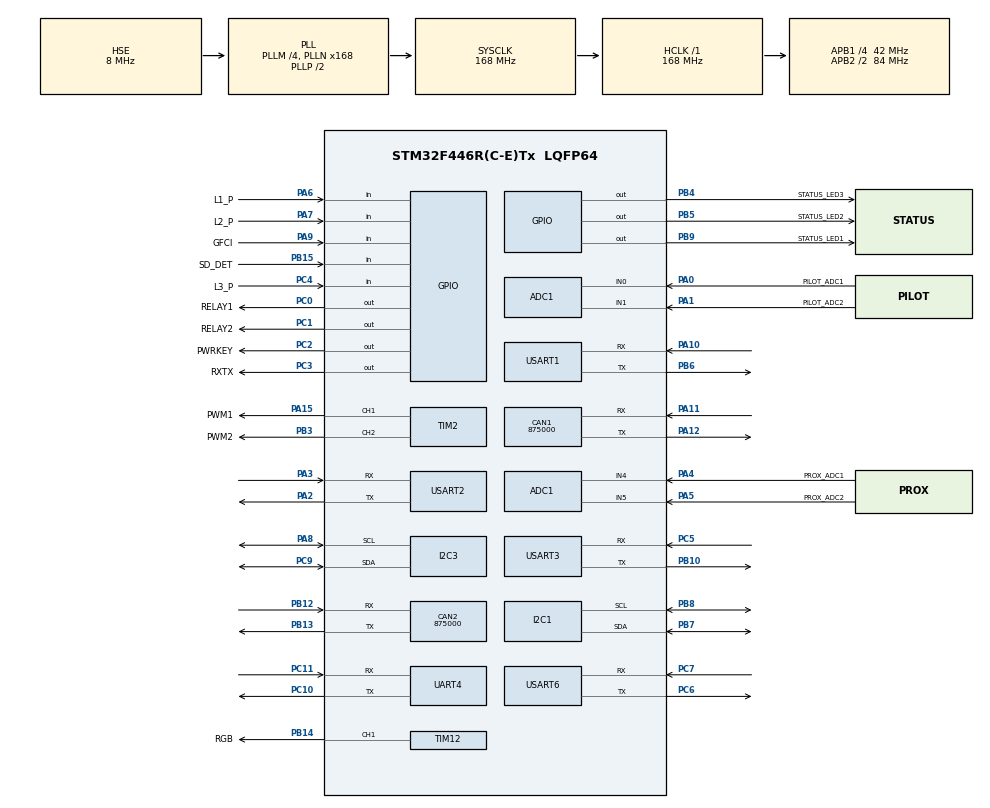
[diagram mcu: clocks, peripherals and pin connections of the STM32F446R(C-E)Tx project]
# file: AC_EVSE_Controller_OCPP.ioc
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ADC1.Channel-0\#ChannelRegularConversion=ADC_CHANNEL_0
ADC1.Channel-1\#ChannelRegularConversion=ADC_CHANNEL_1
ADC1.Channel-2\#ChannelRegularConversion=ADC_CHANNEL_4
ADC1.Channel-3\#ChannelRegularConversion=ADC_CHANNEL_5
ADC1.NbrOfConversion=4
ADC1.NbrOfConversionFlag=1
ADC1.Rank-0\#ChannelRegularConversion=1
ADC1.Rank-1\#ChannelRegularConversion=2
ADC1.Rank-2\#ChannelRegularConversion=3
ADC1.Rank-3\#ChannelRegularConversion=4
ADC1.SamplingTime-0\#ChannelRegularConversion=ADC_SAMPLETIME_3CYCLES
ADC1.SamplingTime-1\#ChannelRegularConversion=ADC_SAMPLETIME_3CYCLES
ADC1.SamplingTime-2\#ChannelRegularConversion=ADC_SAMPLETIME_3CYCLES
ADC1.SamplingTime-3\#ChannelRegularConversion=ADC_SAMPLETIME_3CYCLES
ADC1.master=1
CAN1.CalculateBaudRate=875000
CAN1.CalculateTimeBit=1142
CAN1.CalculateTimeQuantum=380.95238095238096
CAN2.CalculateBaudRate=875000
CAN2.CalculateTimeBit=1142
CAN2.CalculateTimeQuantum=380.95238095238096
Dma.ADC1.0.Direction=DMA_PERIPH_TO_MEMORY
Dma.ADC1.0.FIFOMode=DMA_FIFOMODE_DISABLE
Dma.ADC1.0.Instance=DMA2_Stream0
Dma.ADC1.0.MemDataAlignment=DMA_MDATAALIGN_HALFWORD
Dma.ADC1.0.MemInc=DMA_MINC_ENABLE
Dma.ADC1.0.Mode=DMA_NORMAL
Dma.ADC1.0.PeriphDataAlignment=DMA_PDATAALIGN_HALFWORD
Dma.ADC1.0.PeriphInc=DMA_PINC_DISABLE
Dma.ADC1.0.Priority=DMA_PRIORITY_LOW
Dma.Request0=ADC1
Dma.Request1=USART1_RX
Dma.Request2=USART1_TX
Dma.Request3=USART2_RX
Dma.Request4=USART2_TX
Dma.USART1_RX.1.Direction=DMA_PERIPH_TO_MEMORY
Dma.USART1_RX.1.FIFOMode=DMA_FIFOMODE_ENABLE
Dma.USART1_RX.1.FIFOThreshold=DMA_FIFO_THRESHOLD_FULL
Dma.USART1_RX.1.Instance=DMA2_Stream2
Dma.USART1_RX.1.MemBurst=DMA_MBURST_SINGLE
Dma.USART1_RX.1.MemDataAlignment=DMA_MDATAALIGN_BYTE
Dma.USART1_RX.1.MemInc=DMA_MINC_ENABLE
Dma.USART1_RX.1.Mode=DMA_NORMAL
Dma.USART1_RX.1.PeriphBurst=DMA_PBURST_SINGLE
Dma.USART1_RX.1.PeriphDataAlignment=DMA_PDATAALIGN_BYTE
Dma.USART1_RX.1.PeriphInc=DMA_PINC_DISABLE
Dma.USART1_RX.1.Priority=DMA_PRIORITY_LOW
Dma.USART1_TX.2.Direction=DMA_MEMORY_TO_PERIPH
Dma.USART1_TX.2.FIFOMode=DMA_FIFOMODE_ENABLE
Dma.USART1_TX.2.FIFOThreshold=DMA_FIFO_THRESHOLD_FULL
Dma.USART1_TX.2.Instance=DMA2_Stream7
Dma.USART1_TX.2.MemBurst=DMA_MBURST_SINGLE
Dma.USART1_TX.2.MemDataAlignment=DMA_MDATAALIGN_BYTE
Dma.USART1_TX.2.MemInc=DMA_MINC_ENABLE
Dma.USART1_TX.2.Mode=DMA_NORMAL
Dma.USART1_TX.2.PeriphBurst=DMA_PBURST_SINGLE
Dma.USART1_TX.2.PeriphDataAlignment=DMA_PDATAALIGN_BYTE
Dma.USART1_TX.2.PeriphInc=DMA_PINC_DISABLE
Dma.USART1_TX.2.Priority=DMA_PRIORITY_LOW
Dma.USART2_RX.3.Direction=DMA_PERIPH_TO_MEMORY
Dma.USART2_RX.3.FIFOMode=DMA_FIFOMODE_ENABLE
Dma.USART2_RX.3.FIFOThreshold=DMA_FIFO_THRESHOLD_FULL
Dma.USART2_RX.3.Instance=DMA1_Stream5
Dma.USART2_RX.3.MemBurst=DMA_MBURST_SINGLE
Dma.USART2_RX.3.MemDataAlignment=DMA_MDATAALIGN_BYTE
Dma.USART2_RX.3.MemInc=DMA_MINC_ENABLE
Dma.USART2_RX.3.Mode=DMA_NORMAL
Dma.USART2_RX.3.PeriphBurst=DMA_PBURST_SINGLE
Dma.USART2_RX.3.PeriphDataAlignment=DMA_PDATAALIGN_BYTE
Dma.USART2_RX.3.PeriphInc=DMA_PINC_DISABLE
Dma.USART2_RX.3.Priority=DMA_PRIORITY_LOW
Dma.USART2_TX.4.Direction=DMA_MEMORY_TO_PERIPH
Dma.USART2_TX.4.FIFOMode=DMA_FIFOMODE_DISABLE
Dma.USART2_TX.4.Instance=DMA1_Stream6
Dma.USART2_TX.4.MemDataAlignment=DMA_MDATAALIGN_BYTE
Dma.USART2_TX.4.MemInc=DMA_MINC_ENABLE
Dma.USART2_TX.4.Mode=DMA_NORMAL
Dma.USART2_TX.4.PeriphDataAlignment=DMA_PDATAALIGN_BYTE
Dma.USART2_TX.4.PeriphInc=DMA_PINC_DISABLE
Dma.USART2_TX.4.Priority=DMA_PRIORITY_LOW
FREERTOS.Queues01=simRespMessage,32,uint32_t,0,Dynamic,NULL,NULL
FREERTOS.Tasks01=defaultTask,0,512,StartDefaultTask,Default,NULL,Dynamic,NULL,NULL;parcer,0,512,parcerTask,As external,NULL,Dynamic,NULL,NULL
FREERTOS.configUSE_NEWLIB_REENTRANT=1
Mcu.Family=STM32F4
Mcu.Name=STM32F446R(C-E)Tx
Mcu.Package=LQFP64
NVIC.ADC_IRQn=true\:5\:0\:false\:false\:true\:true\:true\:true\:true
NVIC.DMA1_Stream5_IRQn=true\:5\:0\:false\:false\:true\:true\:false\:true\:true
NVIC.DMA1_Stream6_IRQn=true\:5\:0\:false\:false\:true\:true\:false\:true\:true
NVIC.DMA2_Stream0_IRQn=true\:5\:0\:false\:false\:true\:true\:false\:true\:true
NVIC.DMA2_Stream2_IRQn=true\:5\:0\:false\:false\:true\:true\:false\:true\:true
NVIC.DMA2_Stream7_IRQn=true\:5\:0\:false\:false\:true\:true\:false\:true\:true
NVIC.PriorityGroup=NVIC_PRIORITYGROUP_4
NVIC.TIM2_IRQn=true\:5\:0\:false\:false\:true\:true\:true\:true\:true
NVIC.TIM6_DAC_IRQn=true\:15\:0\:false\:false\:true\:false\:false\:true\:true
NVIC.TimeBase=TIM6_DAC_IRQn
NVIC.TimeBaseIP=TIM6
NVIC.USART1_IRQn=true\:5\:0\:false\:false\:true\:true\:true\:true\:true
NVIC.USART2_IRQn=true\:5\:0\:false\:false\:true\:true\:true\:true\:true
PA0-WKUP.GPIO_Label=PILOT_ADC1
PA0-WKUP.Signal=ADCx_IN0
PA1.GPIO_Label=PILOT_ADC2
PA1.Signal=ADCx_IN1
PA10.Mode=Asynchronous
PA10.Signal=USART1_RX
PA11.Mode=CAN_Activate
PA11.Signal=CAN1_RX
PA12.Mode=CAN_Activate
PA12.Signal=CAN1_TX
PA13.Mode=Serial_Wire
PA13.Signal=SYS_JTMS-SWDIO
PA14.Mode=Serial_Wire
PA14.Signal=SYS_JTCK-SWCLK
PA15.GPIO_Label=PWM1
PA15.Signal=S_TIM2_CH1_ETR
PA2.Mode=Asynchronous
PA2.Signal=USART2_TX
PA3.Mode=Asynchronous
PA3.Signal=USART2_RX
PA4.GPIO_Label=PROX_ADC1
PA4.Signal=ADCx_IN4
PA5.GPIO_Label=PROX_ADC2
PA5.Signal=ADCx_IN5
PA6.GPIO_Label=L1_P
PA6.Signal=GPIO_Input
PA7.GPIO_Label=L2_P
PA7.Signal=GPIO_Input
PA8.Mode=I2C
PA8.Signal=I2C3_SCL
PA9.GPIO_Label=GFCI
PA9.Signal=GPIO_Input
PB10.Mode=Asynchronous
PB10.Signal=USART3_TX
PB12.Mode=CAN_Activate
PB12.Signal=CAN2_RX
PB13.Mode=CAN_Activate
PB13.Signal=CAN2_TX
PB14.GPIO_Label=RGB
PB14.Signal=S_TIM12_CH1
PB15.GPIO_Label=SD_DET
PB15.Signal=GPIO_Input
PB3.GPIO_Label=PWM2
PB3.Signal=S_TIM2_CH2
PB4.GPIO_Label=STATUS_LED3
PB4.Signal=GPIO_Output
PB5.GPIO_Label=STATUS_LED2
PB5.Signal=GPIO_Output
PB6.Mode=Asynchronous
PB6.Signal=USART1_TX
PB7.Mode=I2C
PB7.Signal=I2C1_SDA
PB8.Mode=I2C
PB8.Signal=I2C1_SCL
PB9.GPIO_Label=STATUS_LED1
PB9.Signal=GPIO_Output
PC0.GPIO_Label=RELAY1
PC0.PinState=GPIO_PIN_RESET
PC0.Signal=GPIO_Output
PC1.GPIO_Label=RELAY2
PC1.PinState=GPIO_PIN_RESET
PC1.Signal=GPIO_Output
PC10.Mode=Asynchronous
PC10.Signal=UART4_TX
PC11.Mode=Asynchronous
PC11.Signal=UART4_RX
PC2.GPIO_Label=PWRKEY
PC2.Signal=GPIO_Output
PC3.GPIO_Label=RXTX
PC3.Signal=GPIO_Output
PC4.GPIO_Label=L3_P
PC4.Signal=GPIO_Input
PC5.Mode=Asynchronous
PC5.Signal=USART3_RX
PC6.Mode=Asynchronous
PC6.Signal=USART6_TX
PC7.Mode=Asynchronous
PC7.Signal=USART6_RX
PC9.Mode=I2C
PC9.Signal=I2C3_SDA
PH0-OSC_IN.Mode=HSE-External-Oscillator
PH0-OSC_IN.Signal=RCC_OSC_IN
PH1-OSC_OUT.Mode=HSE-External-Oscillator
PH1-OSC_OUT.Signal=RCC_OSC_OUT
ProjectManager.HeapSize=0x2000
ProjectManager.StackSize=0x4000
ProjectManager.TargetToolchain=STM32CubeIDE
RCC.AHBFreq_Value=168000000
RCC.APB1CLKDivider=RCC_HCLK_DIV4
RCC.APB1Freq_Value=42000000
RCC.APB1TimFreq_Value=84000000
RCC.APB2CLKDivider=RCC_HCLK_DIV2
RCC.APB2Freq_Value=84000000
RCC.APB2TimFreq_Value=168000000
RCC.CortexFreq_Value=168000000
RCC.HCLKFreq_Value=168000000
RCC.HSE_VALUE=8000000
RCC.PLLM=4
RCC.PLLN=168
RCC.PLLQ=7
RCC.PLLSourceVirtual=RCC_PLLSOURCE_HSE
RCC.RCC_RTC_Clock_SourceVirtual=RCC_RTCCLKSOURCE_HSE_DIV8
RCC.RCC_RTC_Clock_Source_FROM_HSE=RCC_RTCCLKSOURCE_HSE_DIV8
RCC.SYSCLKFreq_VALUE=168000000
RCC.SYSCLKSource=RCC_SYSCLKSOURCE_PLLCLK
RCC.USBFreq_Value=48000000
RCC.VCOOutputFreq_Value=336000000
RTC.Format=RTC_FORMAT_BIN
RTC.SynchPrediv=7999
SH.ADCx_IN0.0=ADC1_IN0,IN0
SH.ADCx_IN1.0=ADC1_IN1,IN1
SH.ADCx_IN4.0=ADC1_IN4,IN4
SH.ADCx_IN5.0=ADC1_IN5,IN5
SH.S_TIM12_CH1.0=TIM12_CH1,PWM Generation1 CH1
SH.S_TIM2_CH1_ETR.0=TIM2_CH1,PWM Generation1 CH1
SH.S_TIM2_CH2.0=TIM2_CH2,PWM Generation2 CH2
TIM12.Channel-PWM\ Generation1\ CH1=TIM_CHANNEL_1
TIM2.Channel-PWM\ Generation1\ CH1=TIM_CHANNEL_1
TIM2.Channel-PWM\ Generation2\ CH2=TIM_CHANNEL_2
UART4.VirtualMode=Asynchronous
USART1.VirtualMode=VM_ASYNC
USART2.VirtualMode=VM_ASYNC
USART3.VirtualMode=VM_ASYNC
USART6.VirtualMode=VM_ASYNC
VP_FREERTOS_VS_CMSIS_V1.Mode=CMSIS_V1
VP_RTC_VS_RTC_Activate.Mode=RTC_Enabled
VP_RTC_VS_RTC_Calendar.Mode=RTC_Calendar
VP_SYS_VS_tim6.Mode=TIM6
VP_TIM11_VS_ClockSourceINT.Mode=Enable_Timer
VP_TIM12_VS_ClockSourceINT.Mode=Internal
VP_TIM8_VS_ClockSourceINT.Mode=Internal
board=custom

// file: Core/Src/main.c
/* USER CODE BEGIN Header */
/**
 ******************************************************************************
 * @file           : main.c
 * @brief          : Main program body
 ******************************************************************************
 * @attention
 *
 * Copyright (c) 2022 STMicroelectronics.
 * All rights reserved.
 *
 * This software is licensed under terms that can be found in the LICENSE file
 * in the root directory of this software component.
 * If no LICENSE file comes with this software, it is provided AS-IS.
 *
 ******************************************************************************
 */
/* USER CODE END Header */
#include "main.h"
#include "cmsis_os.h"

/* USER CODE BEGIN Includes */
#include "sim7600.h"
/* USER CODE END Includes */

ADC_HandleTypeDef hadc1;
DMA_HandleTypeDef hdma_adc1;

CAN_HandleTypeDef hcan1;
CAN_HandleTypeDef hcan2;

I2C_HandleTypeDef hi2c1;
I2C_HandleTypeDef hi2c3;

RTC_HandleTypeDef hrtc;

TIM_HandleTypeDef htim2;
TIM_HandleTypeDef htim8;
TIM_HandleTypeDef htim11;
TIM_HandleTypeDef htim12;

UART_HandleTypeDef huart4;
UART_HandleTypeDef huart1;
UART_HandleTypeDef huart2;
UART_HandleTypeDef huart3;
UART_HandleTypeDef huart6;
DMA_HandleTypeDef hdma_usart1_rx;
DMA_HandleTypeDef hdma_usart1_tx;
DMA_HandleTypeDef hdma_usart2_rx;
DMA_HandleTypeDef hdma_usart2_tx;

osThreadId defaultTaskHandle;
osThreadId parcerHandle;
osMessageQId simRespMessageHandle;
/* USER CODE BEGIN PV */
QueueHandle_t qSimcomHandle;
uint8_t qSimcomBuffer[ MAIL_SIZE * sizeof( simcomRxType ) ];
StaticQueue_t qSimcomQueueBuffer;
RTC_TimeTypeDef sTime = {0};
RTC_DateTypeDef sDate = {0};

int8_t testResponse = 0;
/* USER CODE END PV */

void SystemClock_Config(void);
static void MX_GPIO_Init(void);
static void MX_DMA_Init(void);
static void MX_CAN1_Init(void);
static void MX_CAN2_Init(void);
static void MX_I2C1_Init(void);
static void MX_USART1_UART_Init(void);
static void MX_USART2_UART_Init(void);
static void MX_UART4_Init(void);
static void MX_USART3_UART_Init(void);
static void MX_ADC1_Init(void);
static void MX_I2C3_Init(void);
static void MX_TIM2_Init(void);
static void MX_TIM8_Init(void);
static void MX_TIM11_Init(void);
static void MX_TIM12_Init(void);
static void MX_USART6_UART_Init(void);
static void MX_RTC_Init(void);
void StartDefaultTask(void const * argument);
extern void parcerTask(void const * argument);

int main(void)
{

  /* MCU Configuration--------------------------------------------------------*/

  /* Reset of all peripherals, Initializes the Flash interface and the Systick. */
  HAL_Init();

  /* Configure the system clock */
  SystemClock_Config();

  /* Initialize all configured peripherals */
  MX_GPIO_Init();
  MX_DMA_Init();
  MX_CAN1_Init();
  MX_CAN2_Init();
  MX_I2C1_Init();
  MX_USART1_UART_Init();
  MX_USART2_UART_Init();
  MX_UART4_Init();
  MX_USART3_UART_Init();
  MX_ADC1_Init();
  MX_I2C3_Init();
  MX_TIM2_Init();
  MX_TIM8_Init();
  MX_TIM11_Init();
  MX_TIM12_Init();
  MX_USART6_UART_Init();
  MX_RTC_Init();
  /* USER CODE BEGIN 2 */
  HAL_UARTEx_ReceiveToIdle_DMA(&huart1, simcomRxData.simcomRxBuf, RX_BUFFER_SIZE);
  /* USER CODE END 2 */

  /* Create the queue(s) */
  /* definition and creation of simRespMessage */
  osMessageQDef(simRespMessage, 32, uint32_t);
  simRespMessageHandle = osMessageCreate(osMessageQ(simRespMessage), NULL);

  /* USER CODE BEGIN RTOS_QUEUES */
	/* add queues, ... */
  qSimcomHandle = xQueueCreateStatic(MAIL_SIZE, sizeof (simcomRxType), &qSimcomBuffer[0], &qSimcomQueueBuffer);
  /* USER CODE END RTOS_QUEUES */

  /* Create the thread(s) */
  /* definition and creation of defaultTask */
  osThreadDef(defaultTask, StartDefaultTask, osPriorityNormal, 0, 512);
  defaultTaskHandle = osThreadCreate(osThread(defaultTask), NULL);

  /* definition and creation of parcer */
  osThreadDef(parcer, parcerTask, osPriorityNormal, 0, 512);
  parcerHandle = osThreadCreate(osThread(parcer), NULL);

  /* Start scheduler */
  osKernelStart();

  /* We should never get here as control is now taken by the scheduler */
  /* Infinite loop */
	while (1) {

	}
}

void SystemClock_Config(void)
{
  RCC_OscInitTypeDef RCC_OscInitStruct = {0};
  RCC_ClkInitTypeDef RCC_ClkInitStruct = {0};

  /** Configure the main internal regulator output voltage
  */
  __HAL_RCC_PWR_CLK_ENABLE();
  __HAL_PWR_VOLTAGESCALING_CONFIG(PWR_REGULATOR_VOLTAGE_SCALE1);

  /** Initializes the RCC Oscillators according to the specified parameters
  * in the RCC_OscInitTypeDef structure.
  */
  RCC_OscInitStruct.OscillatorType = RCC_OSCILLATORTYPE_HSE;
  RCC_OscInitStruct.HSEState = RCC_HSE_ON;
  RCC_OscInitStruct.LSEState = RCC_LSE_OFF;
  RCC_OscInitStruct.PLL.PLLState = RCC_PLL_ON;
  RCC_OscInitStruct.PLL.PLLSource = RCC_PLLSOURCE_HSE;
  RCC_OscInitStruct.PLL.PLLM = 4;
  RCC_OscInitStruct.PLL.PLLN = 168;
  RCC_OscInitStruct.PLL.PLLP = RCC_PLLP_DIV2;
  RCC_OscInitStruct.PLL.PLLQ = 7;
  RCC_OscInitStruct.PLL.PLLR = 2;
  if (HAL_RCC_OscConfig(&RCC_OscInitStruct) != HAL_OK)
  {
    Error_Handler();
  }

  /** Initializes the CPU, AHB and APB buses clocks
  */
  RCC_ClkInitStruct.ClockType = RCC_CLOCKTYPE_HCLK|RCC_CLOCKTYPE_SYSCLK
                              |RCC_CLOCKTYPE_PCLK1|RCC_CLOCKTYPE_PCLK2;
  RCC_ClkInitStruct.SYSCLKSource = RCC_SYSCLKSOURCE_PLLCLK;
  RCC_ClkInitStruct.AHBCLKDivider = RCC_SYSCLK_DIV1;
  RCC_ClkInitStruct.APB1CLKDivider = RCC_HCLK_DIV4;
  RCC_ClkInitStruct.APB2CLKDivider = RCC_HCLK_DIV2;

  if (HAL_RCC_ClockConfig(&RCC_ClkInitStruct, FLASH_LATENCY_5) != HAL_OK)
  {
    Error_Handler();
  }
}

static void MX_ADC1_Init(void)
{

  ADC_ChannelConfTypeDef sConfig = {0};

  /** Configure the global features of the ADC (Clock, Resolution, Data Alignment and number of conversion)
  */
  hadc1.Instance = ADC1;
  hadc1.Init.ClockPrescaler = ADC_CLOCK_SYNC_PCLK_DIV4;
  hadc1.Init.Resolution = ADC_RESOLUTION_12B;
  hadc1.Init.ScanConvMode = ENABLE;
  hadc1.Init.ContinuousConvMode = DISABLE;
  hadc1.Init.DiscontinuousConvMode = DISABLE;
  hadc1.Init.ExternalTrigConvEdge = ADC_EXTERNALTRIGCONVEDGE_NONE;
  hadc1.Init.ExternalTrigConv = ADC_SOFTWARE_START;
  hadc1.Init.DataAlign = ADC_DATAALIGN_RIGHT;
  hadc1.Init.NbrOfConversion = 4;
  hadc1.Init.DMAContinuousRequests = DISABLE;
  hadc1.Init.EOCSelection = ADC_EOC_SINGLE_CONV;
  if (HAL_ADC_Init(&hadc1) != HAL_OK)
  {
    Error_Handler();
  }

  /** Configure for the selected ADC regular channel its corresponding rank in the sequencer and its sample time.
  */
  sConfig.Channel = ADC_CHANNEL_0;
  sConfig.Rank = 1;
  sConfig.SamplingTime = ADC_SAMPLETIME_3CYCLES;
  if (HAL_ADC_ConfigChannel(&hadc1, &sConfig) != HAL_OK)
  {
    Error_Handler();
  }

  /** Configure for the selected ADC regular channel its corresponding rank in the sequencer and its sample time.
  */
  sConfig.Channel = ADC_CHANNEL_1;
  sConfig.Rank = 2;
  if (HAL_ADC_ConfigChannel(&hadc1, &sConfig) != HAL_OK)
  {
    Error_Handler();
  }

  /** Configure for the selected ADC regular channel its corresponding rank in the sequencer and its sample time.
  */
  sConfig.Channel = ADC_CHANNEL_4;
  sConfig.Rank = 3;
  if (HAL_ADC_ConfigChannel(&hadc1, &sConfig) != HAL_OK)
  {
    Error_Handler();
  }

  /** Configure for the selected ADC regular channel its corresponding rank in the sequencer and its sample time.
  */
  sConfig.Channel = ADC_CHANNEL_5;
  sConfig.Rank = 4;
  if (HAL_ADC_ConfigChannel(&hadc1, &sConfig) != HAL_OK)
  {
    Error_Handler();
  }

}

static void MX_CAN1_Init(void)
{

  hcan1.Instance = CAN1;
  hcan1.Init.Prescaler = 16;
  hcan1.Init.Mode = CAN_MODE_NORMAL;
  hcan1.Init.SyncJumpWidth = CAN_SJW_1TQ;
  hcan1.Init.TimeSeg1 = CAN_BS1_1TQ;
  hcan1.Init.TimeSeg2 = CAN_BS2_1TQ;
  hcan1.Init.TimeTriggeredMode = DISABLE;
  hcan1.Init.AutoBusOff = DISABLE;
  hcan1.Init.AutoWakeUp = DISABLE;
  hcan1.Init.AutoRetransmission = DISABLE;
  hcan1.Init.ReceiveFifoLocked = DISABLE;
  hcan1.Init.TransmitFifoPriority = DISABLE;
  if (HAL_CAN_Init(&hcan1) != HAL_OK)
  {
    Error_Handler();
  }

}

static void MX_CAN2_Init(void)
{

  hcan2.Instance = CAN2;
  hcan2.Init.Prescaler = 16;
  hcan2.Init.Mode = CAN_MODE_NORMAL;
  hcan2.Init.SyncJumpWidth = CAN_SJW_1TQ;
  hcan2.Init.TimeSeg1 = CAN_BS1_1TQ;
  hcan2.Init.TimeSeg2 = CAN_BS2_1TQ;
  hcan2.Init.TimeTriggeredMode = DISABLE;
  hcan2.Init.AutoBusOff = DISABLE;
  hcan2.Init.AutoWakeUp = DISABLE;
  hcan2.Init.AutoRetransmission = DISABLE;
  hcan2.Init.ReceiveFifoLocked = DISABLE;
  hcan2.Init.TransmitFifoPriority = DISABLE;
  if (HAL_CAN_Init(&hcan2) != HAL_OK)
  {
    Error_Handler();
  }

}

static void MX_I2C1_Init(void)
{

  hi2c1.Instance = I2C1;
  hi2c1.Init.ClockSpeed = 100000;
  hi2c1.Init.DutyCycle = I2C_DUTYCYCLE_2;
  hi2c1.Init.OwnAddress1 = 0;
  hi2c1.Init.AddressingMode = I2C_ADDRESSINGMODE_7BIT;
  hi2c1.Init.DualAddressMode = I2C_DUALADDRESS_DISABLE;
  hi2c1.Init.OwnAddress2 = 0;
  hi2c1.Init.GeneralCallMode = I2C_GENERALCALL_DISABLE;
  hi2c1.Init.NoStretchMode = I2C_NOSTRETCH_DISABLE;
  if (HAL_I2C_Init(&hi2c1) != HAL_OK)
  {
    Error_Handler();
  }

}

static void MX_I2C3_Init(void)
{

  hi2c3.Instance = I2C3;
  hi2c3.Init.ClockSpeed = 100000;
  hi2c3.Init.DutyCycle = I2C_DUTYCYCLE_2;
  hi2c3.Init.OwnAddress1 = 0;
  hi2c3.Init.AddressingMode = I2C_ADDRESSINGMODE_7BIT;
  hi2c3.Init.DualAddressMode = I2C_DUALADDRESS_DISABLE;
  hi2c3.Init.OwnAddress2 = 0;
  hi2c3.Init.GeneralCallMode = I2C_GENERALCALL_DISABLE;
  hi2c3.Init.NoStretchMode = I2C_NOSTRETCH_DISABLE;
  if (HAL_I2C_Init(&hi2c3) != HAL_OK)
  {
    Error_Handler();
  }

}

static void MX_RTC_Init(void)
{

  RTC_TimeTypeDef sTime = {0};
  RTC_DateTypeDef sDate = {0};

  /** Initialize RTC Only
  */
  hrtc.Instance = RTC;
  hrtc.Init.HourFormat = RTC_HOURFORMAT_24;
  hrtc.Init.AsynchPrediv = 127;
  hrtc.Init.SynchPrediv = 7999;
  hrtc.Init.OutPut = RTC_OUTPUT_DISABLE;
  hrtc.Init.OutPutPolarity = RTC_OUTPUT_POLARITY_HIGH;
  hrtc.Init.OutPutType = RTC_OUTPUT_TYPE_OPENDRAIN;
  if (HAL_RTC_Init(&hrtc) != HAL_OK)
  {
    Error_Handler();
  }

  /** Initialize RTC and set the Time and Date
  */
  sTime.Hours = 0;
  sTime.Minutes = 0;
  sTime.Seconds = 0;
  sTime.DayLightSaving = RTC_DAYLIGHTSAVING_NONE;
  sTime.StoreOperation = RTC_STOREOPERATION_RESET;
  if (HAL_RTC_SetTime(&hrtc, &sTime, RTC_FORMAT_BIN) != HAL_OK)
  {
    Error_Handler();
  }
  sDate.WeekDay = RTC_WEEKDAY_MONDAY;
  sDate.Month = RTC_MONTH_JANUARY;
  sDate.Date = 1;
  sDate.Year = 0;

  if (HAL_RTC_SetDate(&hrtc, &sDate, RTC_FORMAT_BIN) != HAL_OK)
  {
    Error_Handler();
  }

}

static void MX_TIM2_Init(void)
{

  TIM_MasterConfigTypeDef sMasterConfig = {0};
  TIM_OC_InitTypeDef sConfigOC = {0};

  htim2.Instance = TIM2;
  htim2.Init.Prescaler = 0;
  htim2.Init.CounterMode = TIM_COUNTERMODE_UP;
  htim2.Init.Period = 4294967295;
  htim2.Init.ClockDivision = TIM_CLOCKDIVISION_DIV1;
  htim2.Init.AutoReloadPreload = TIM_AUTORELOAD_PRELOAD_DISABLE;
  if (HAL_TIM_PWM_Init(&htim2) != HAL_OK)
  {
    Error_Handler();
  }
  sMasterConfig.MasterOutputTrigger = TIM_TRGO_RESET;
  sMasterConfig.MasterSlaveMode = TIM_MASTERSLAVEMODE_DISABLE;
  if (HAL_TIMEx_MasterConfigSynchronization(&htim2, &sMasterConfig) != HAL_OK)
  {
    Error_Handler();
  }
  sConfigOC.OCMode = TIM_OCMODE_PWM1;
  sConfigOC.Pulse = 0;
  sConfigOC.OCPolarity = TIM_OCPOLARITY_HIGH;
  sConfigOC.OCFastMode = TIM_OCFAST_DISABLE;
  if (HAL_TIM_PWM_ConfigChannel(&htim2, &sConfigOC, TIM_CHANNEL_1) != HAL_OK)
  {
    Error_Handler();
  }
  if (HAL_TIM_PWM_ConfigChannel(&htim2, &sConfigOC, TIM_CHANNEL_2) != HAL_OK)
  {
    Error_Handler();
  }
  HAL_TIM_MspPostInit(&htim2);

}

static void MX_TIM8_Init(void)
{

  TIM_ClockConfigTypeDef sClockSourceConfig = {0};
  TIM_MasterConfigTypeDef sMasterConfig = {0};

  htim8.Instance = TIM8;
  htim8.Init.Prescaler = 0;
  htim8.Init.CounterMode = TIM_COUNTERMODE_UP;
  htim8.Init.Period = 65535;
  htim8.Init.ClockDivision = TIM_CLOCKDIVISION_DIV1;
  htim8.Init.RepetitionCounter = 0;
  htim8.Init.AutoReloadPreload = TIM_AUTORELOAD_PRELOAD_DISABLE;
  if (HAL_TIM_Base_Init(&htim8) != HAL_OK)
  {
    Error_Handler();
  }
  sClockSourceConfig.ClockSource = TIM_CLOCKSOURCE_INTERNAL;
  if (HAL_TIM_ConfigClockSource(&htim8, &sClockSourceConfig) != HAL_OK)
  {
    Error_Handler();
  }
  sMasterConfig.MasterOutputTrigger = TIM_TRGO_RESET;
  sMasterConfig.MasterSlaveMode = TIM_MASTERSLAVEMODE_DISABLE;
  if (HAL_TIMEx_MasterConfigSynchronization(&htim8, &sMasterConfig) != HAL_OK)
  {
    Error_Handler();
  }

}

static void MX_TIM11_Init(void)
{

  htim11.Instance = TIM11;
  htim11.Init.Prescaler = 0;
  htim11.Init.CounterMode = TIM_COUNTERMODE_UP;
  htim11.Init.Period = 65535;
  htim11.Init.ClockDivision = TIM_CLOCKDIVISION_DIV1;
  htim11.Init.AutoReloadPreload = TIM_AUTORELOAD_PRELOAD_DISABLE;
  if (HAL_TIM_Base_Init(&htim11) != HAL_OK)
  {
    Error_Handler();
  }

}

static void MX_TIM12_Init(void)
{

  TIM_ClockConfigTypeDef sClockSourceConfig = {0};
  TIM_OC_InitTypeDef sConfigOC = {0};

  htim12.Instance = TIM12;
  htim12.Init.Prescaler = 0;
  htim12.Init.CounterMode = TIM_COUNTERMODE_UP;
  htim12.Init.Period = 65535;
  htim12.Init.ClockDivision = TIM_CLOCKDIVISION_DIV1;
  htim12.Init.AutoReloadPreload = TIM_AUTORELOAD_PRELOAD_DISABLE;
  if (HAL_TIM_Base_Init(&htim12) != HAL_OK)
  {
    Error_Handler();
  }
  sClockSourceConfig.ClockSource = TIM_CLOCKSOURCE_INTERNAL;
  if (HAL_TIM_ConfigClockSource(&htim12, &sClockSourceConfig) != HAL_OK)
  {
    Error_Handler();
  }
  if (HAL_TIM_PWM_Init(&htim12) != HAL_OK)
  {
    Error_Handler();
  }
  sConfigOC.OCMode = TIM_OCMODE_PWM1;
  sConfigOC.Pulse = 0;
  sConfigOC.OCPolarity = TIM_OCPOLARITY_HIGH;
  sConfigOC.OCFastMode = TIM_OCFAST_DISABLE;
  if (HAL_TIM_PWM_ConfigChannel(&htim12, &sConfigOC, TIM_CHANNEL_1) != HAL_OK)
  {
    Error_Handler();
  }
  HAL_TIM_MspPostInit(&htim12);

}

static void MX_UART4_Init(void)
{

  huart4.Instance = UART4;
  huart4.Init.BaudRate = 115200;
  huart4.Init.WordLength = UART_WORDLENGTH_8B;
  huart4.Init.StopBits = UART_STOPBITS_1;
  huart4.Init.Parity = UART_PARITY_NONE;
  huart4.Init.Mode = UART_MODE_TX_RX;
  huart4.Init.HwFlowCtl = UART_HWCONTROL_NONE;
  huart4.Init.OverSampling = UART_OVERSAMPLING_16;
  if (HAL_UART_Init(&huart4) != HAL_OK)
  {
    Error_Handler();
  }

}

static void MX_USART1_UART_Init(void)
{

  huart1.Instance = USART1;
  huart1.Init.BaudRate = 115200;
  huart1.Init.WordLength = UART_WORDLENGTH_8B;
  huart1.Init.StopBits = UART_STOPBITS_1;
  huart1.Init.Parity = UART_PARITY_NONE;
  huart1.Init.Mode = UART_MODE_TX_RX;
  huart1.Init.HwFlowCtl = UART_HWCONTROL_NONE;
  huart1.Init.OverSampling = UART_OVERSAMPLING_16;
  if (HAL_UART_Init(&huart1) != HAL_OK)
  {
    Error_Handler();
  }

}

static void MX_USART2_UART_Init(void)
{

  huart2.Instance = USART2;
  huart2.Init.BaudRate = 115200;
  huart2.Init.WordLength = UART_WORDLENGTH_8B;
  huart2.Init.StopBits = UART_STOPBITS_1;
  huart2.Init.Parity = UART_PARITY_NONE;
  huart2.Init.Mode = UART_MODE_TX_RX;
  huart2.Init.HwFlowCtl = UART_HWCONTROL_NONE;
  huart2.Init.OverSampling = UART_OVERSAMPLING_16;
  if (HAL_UART_Init(&huart2) != HAL_OK)
  {
    Error_Handler();
  }

}

static void MX_USART3_UART_Init(void)
{

  huart3.Instance = USART3;
  huart3.Init.BaudRate = 115200;
  huart3.Init.WordLength = UART_WORDLENGTH_8B;
  huart3.Init.StopBits = UART_STOPBITS_1;
  huart3.Init.Parity = UART_PARITY_NONE;
  huart3.Init.Mode = UART_MODE_TX_RX;
  huart3.Init.HwFlowCtl = UART_HWCONTROL_NONE;
  huart3.Init.OverSampling = UART_OVERSAMPLING_16;
  if (HAL_UART_Init(&huart3) != HAL_OK)
  {
    Error_Handler();
  }

}

static void MX_USART6_UART_Init(void)
{

  huart6.Instance = USART6;
  huart6.Init.BaudRate = 115200;
  huart6.Init.WordLength = UART_WORDLENGTH_8B;
  huart6.Init.StopBits = UART_STOPBITS_1;
  huart6.Init.Parity = UART_PARITY_NONE;
  huart6.Init.Mode = UART_MODE_TX_RX;
  huart6.Init.HwFlowCtl = UART_HWCONTROL_NONE;
  huart6.Init.OverSampling = UART_OVERSAMPLING_16;
  if (HAL_UART_Init(&huart6) != HAL_OK)
  {
    Error_Handler();
  }

}

static void MX_DMA_Init(void)
{

  /* DMA controller clock enable */
  __HAL_RCC_DMA2_CLK_ENABLE();
  __HAL_RCC_DMA1_CLK_ENABLE();

  /* DMA interrupt init */
  /* DMA1_Stream5_IRQn interrupt configuration */
  HAL_NVIC_SetPriority(DMA1_Stream5_IRQn, 5, 0);
  HAL_NVIC_EnableIRQ(DMA1_Stream5_IRQn);
  /* DMA1_Stream6_IRQn interrupt configuration */
  HAL_NVIC_SetPriority(DMA1_Stream6_IRQn, 5, 0);
  HAL_NVIC_EnableIRQ(DMA1_Stream6_IRQn);
  /* DMA2_Stream0_IRQn interrupt configuration */
  HAL_NVIC_SetPriority(DMA2_Stream0_IRQn, 5, 0);
  HAL_NVIC_EnableIRQ(DMA2_Stream0_IRQn);
  /* DMA2_Stream2_IRQn interrupt configuration */
  HAL_NVIC_SetPriority(DMA2_Stream2_IRQn, 5, 0);
  HAL_NVIC_EnableIRQ(DMA2_Stream2_IRQn);
  /* DMA2_Stream7_IRQn interrupt configuration */
  HAL_NVIC_SetPriority(DMA2_Stream7_IRQn, 5, 0);
  HAL_NVIC_EnableIRQ(DMA2_Stream7_IRQn);

}

static void MX_GPIO_Init(void)
{
  GPIO_InitTypeDef GPIO_InitStruct = {0};

  /* GPIO Ports Clock Enable */
  __HAL_RCC_GPIOH_CLK_ENABLE();
  __HAL_RCC_GPIOC_CLK_ENABLE();
  __HAL_RCC_GPIOA_CLK_ENABLE();
  __HAL_RCC_GPIOB_CLK_ENABLE();

  /*Configure GPIO pin Output Level */
  HAL_GPIO_WritePin(GPIOC, RELAY1_Pin|RELAY2_Pin|PWRKEY_Pin|RXTX_Pin, GPIO_PIN_RESET);

  /*Configure GPIO pin Output Level */
  HAL_GPIO_WritePin(GPIOB, STATUS_LED3_Pin|STATUS_LED2_Pin|STATUS_LED1_Pin, GPIO_PIN_RESET);

  /*Configure GPIO pins : RELAY1_Pin RELAY2_Pin PWRKEY_Pin RXTX_Pin */
  GPIO_InitStruct.Pin = RELAY1_Pin|RELAY2_Pin|PWRKEY_Pin|RXTX_Pin;
  GPIO_InitStruct.Mode = GPIO_MODE_OUTPUT_PP;
  GPIO_InitStruct.Pull = GPIO_NOPULL;
  GPIO_InitStruct.Speed = GPIO_SPEED_FREQ_LOW;
  HAL_GPIO_Init(GPIOC, &GPIO_InitStruct);

  /*Configure GPIO pins : L1_P_Pin L2_P_Pin GFCI_Pin */
  GPIO_InitStruct.Pin = L1_P_Pin|L2_P_Pin|GFCI_Pin;
  GPIO_InitStruct.Mode = GPIO_MODE_INPUT;
  GPIO_InitStruct.Pull = GPIO_NOPULL;
  HAL_GPIO_Init(GPIOA, &GPIO_InitStruct);

  /*Configure GPIO pin : L3_P_Pin */
  GPIO_InitStruct.Pin = L3_P_Pin;
  GPIO_InitStruct.Mode = GPIO_MODE_INPUT;
  GPIO_InitStruct.Pull = GPIO_NOPULL;
  HAL_GPIO_Init(L3_P_GPIO_Port, &GPIO_InitStruct);

  /*Configure GPIO pin : SD_DET_Pin */
  GPIO_InitStruct.Pin = SD_DET_Pin;
  GPIO_InitStruct.Mode = GPIO_MODE_INPUT;
  GPIO_InitStruct.Pull = GPIO_NOPULL;
  HAL_GPIO_Init(SD_DET_GPIO_Port, &GPIO_InitStruct);

  /*Configure GPIO pins : STATUS_LED3_Pin STATUS_LED2_Pin STATUS_LED1_Pin */
  GPIO_InitStruct.Pin = STATUS_LED3_Pin|STATUS_LED2_Pin|STATUS_LED1_Pin;
  GPIO_InitStruct.Mode = GPIO_MODE_OUTPUT_PP;
  GPIO_InitStruct.Pull = GPIO_NOPULL;
  GPIO_InitStruct.Speed = GPIO_SPEED_FREQ_LOW;
  HAL_GPIO_Init(GPIOB, &GPIO_InitStruct);

}

/* USER CODE BEGIN 4 */
int _write(int file, char *ptr, int len)
{
	HAL_UART_Transmit(&huart2, (const uint8_t *) ptr, len, 100);
	return len;
}
/* USER CODE END 4 */

void StartDefaultTask(void const * argument)
{
  /* USER CODE BEGIN 5 */

	osDelay(1000);
	simcomInit();

	/* Infinite loop */
	for (;;) {

		osDelay(100);
	}
  /* USER CODE END 5 */
}

void HAL_TIM_PeriodElapsedCallback(TIM_HandleTypeDef *htim)
{
  /* USER CODE BEGIN Callback 0 */
	static uint16_t counter = 0;

  /* USER CODE END Callback 0 */
  if (htim->Instance == TIM6) {
    HAL_IncTick();
  }
  /* USER CODE BEGIN Callback 1 */
  if (counter++ > 999){
	  HAL_GPIO_TogglePin(STATUS_LED1_GPIO_Port, STATUS_LED1_Pin);
	  counter = 0;
  }

  /* USER CODE END Callback 1 */
}

void Error_Handler(void)
{
	__disable_irq();
	while (1) {
	}
}
